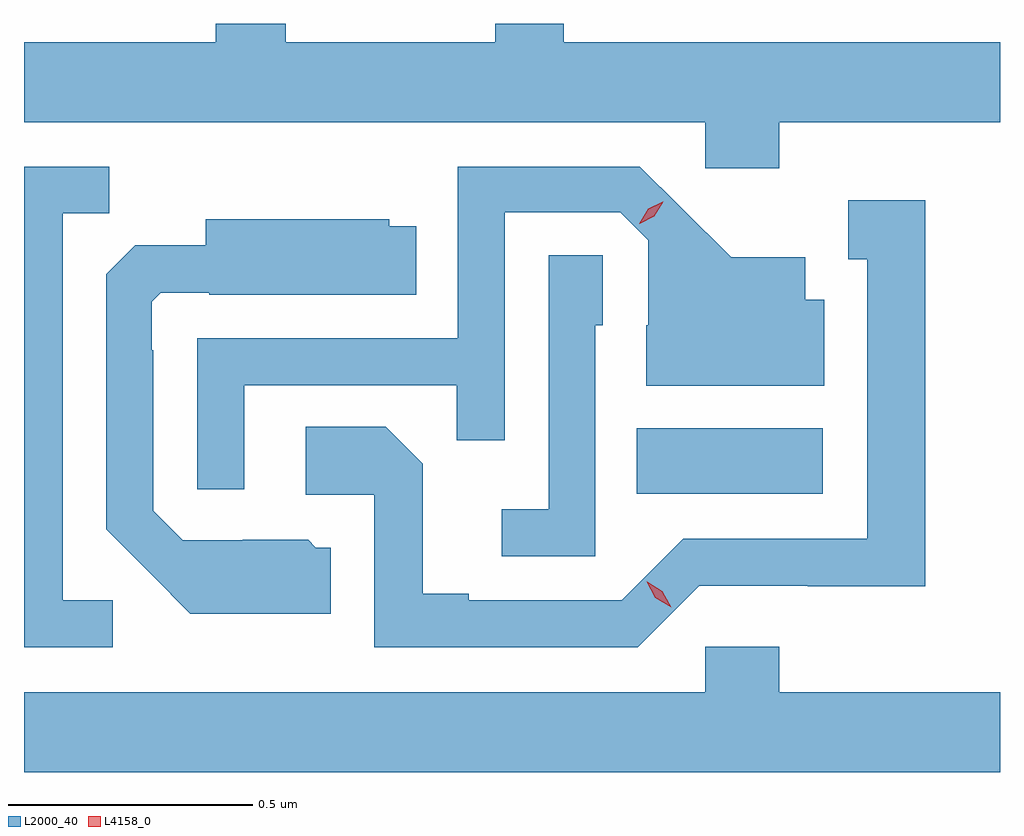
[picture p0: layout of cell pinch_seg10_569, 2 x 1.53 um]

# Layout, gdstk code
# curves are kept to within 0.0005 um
import gdstk
lib = gdstk.Library(unit=1e-6, precision=1e-09)
def R(c, l, rs):  # rectangles x0, y0, x1, y1
    for r in rs: c.add(gdstk.rectangle(r[:2], r[2:], *l))
def P(c, l, *ps):  # polygons
    for p in ps: c.add(gdstk.Polygon(p, *l))
L2000_40 = (2000, 40)
L4158_0 = (4158, 0)

pinch_seg10_569 = lib.new_cell('pinch_seg10_569')
R(pinch_seg10_569, L2000_40, [(372.91,1278.242,373.291,1278.376)])
P(pinch_seg10_569, L2000_40, [(373.202,1279.004),(373.654,1279.004),(373.654,1279.168),(372.76,1279.168),(372.76,1279.205),(372.62,1279.205),(372.62,1279.168),(372.19,1279.168),(372.19,1279.205),(372.047,1279.205),(372.047,1279.168),(371.654,1279.168),(371.654,1279.004),(373.05,1279.004),(373.05,1278.909),(373.202,1278.909)],
  [(372.105,1278.465),(372.541,1278.465),(372.541,1278.352),(372.639,1278.352),(372.639,1278.819),(372.876,1278.819),(372.933,1278.762),(372.933,1278.588),(372.929,1278.588),(372.929,1278.464),(373.294,1278.464),(373.294,1278.64),(373.255,1278.64),(373.255,1278.727),(373.103,1278.727),(372.916,1278.912),(372.543,1278.912),(372.543,1278.561),(372.009,1278.561),(372.009,1278.252),(372.105,1278.252)],
  [(371.836,1278.024),(371.733,1278.024),(371.733,1278.817),(371.829,1278.817),(371.829,1278.912),(371.654,1278.912),(371.654,1277.928),(371.836,1277.928)],
  [(373.038,1278.054),(373.26,1278.054),(373.26,1278.053),(373.501,1278.053),(373.501,1278.844),(373.343,1278.844),(373.343,1278.723),(373.382,1278.723),(373.382,1278.15),(373.005,1278.15),(372.879,1278.024),(372.565,1278.024),(372.565,1278.037),(372.471,1278.037),(372.471,1278.304),(372.395,1278.38),(372.231,1278.38),(372.231,1278.24),(372.372,1278.24),(372.372,1277.928),(372.912,1277.928)],
  [(372.283,1278.132),(372.252,1278.132),(372.236,1278.148),(372.102,1278.148),(372.102,1278.147),(371.979,1278.147),(371.919,1278.207),(371.919,1278.536),(371.916,1278.536),(371.916,1278.636),(371.934,1278.654),(372.034,1278.654),(372.034,1278.65),(372.458,1278.65),(372.458,1278.79),(372.402,1278.79),(372.402,1278.805),(372.026,1278.805),(372.026,1278.751),(371.882,1278.751),(371.823,1278.692),(371.823,1278.17),(371.995,1277.996),(372.283,1277.996)],
  [(372.825,1278.588),(372.84,1278.588),(372.84,1278.731),(372.729,1278.731),(372.729,1278.211),(372.633,1278.211),(372.633,1278.114),(372.825,1278.114)],
  [(373.654,1277.836),(373.202,1277.836),(373.202,1277.929),(373.05,1277.929),(373.05,1277.836),(371.654,1277.836),(371.654,1277.672),(373.654,1277.672)])
P(pinch_seg10_569, L4158_0, [(372.98,1278.01),(372.948,1278.029),(372.93,1278.062),(372.93,1278.062),(372.931,1278.062),(372.962,1278.043),(372.98,1278.01),(372.98,1278.01)],
  [(372.915,1278.796),(372.915,1278.796),(372.933,1278.826),(372.963,1278.841),(372.964,1278.841),(372.964,1278.841),(372.946,1278.811),(372.916,1278.796)])

lib.write_gds('pinch_seg10_569.gds')
